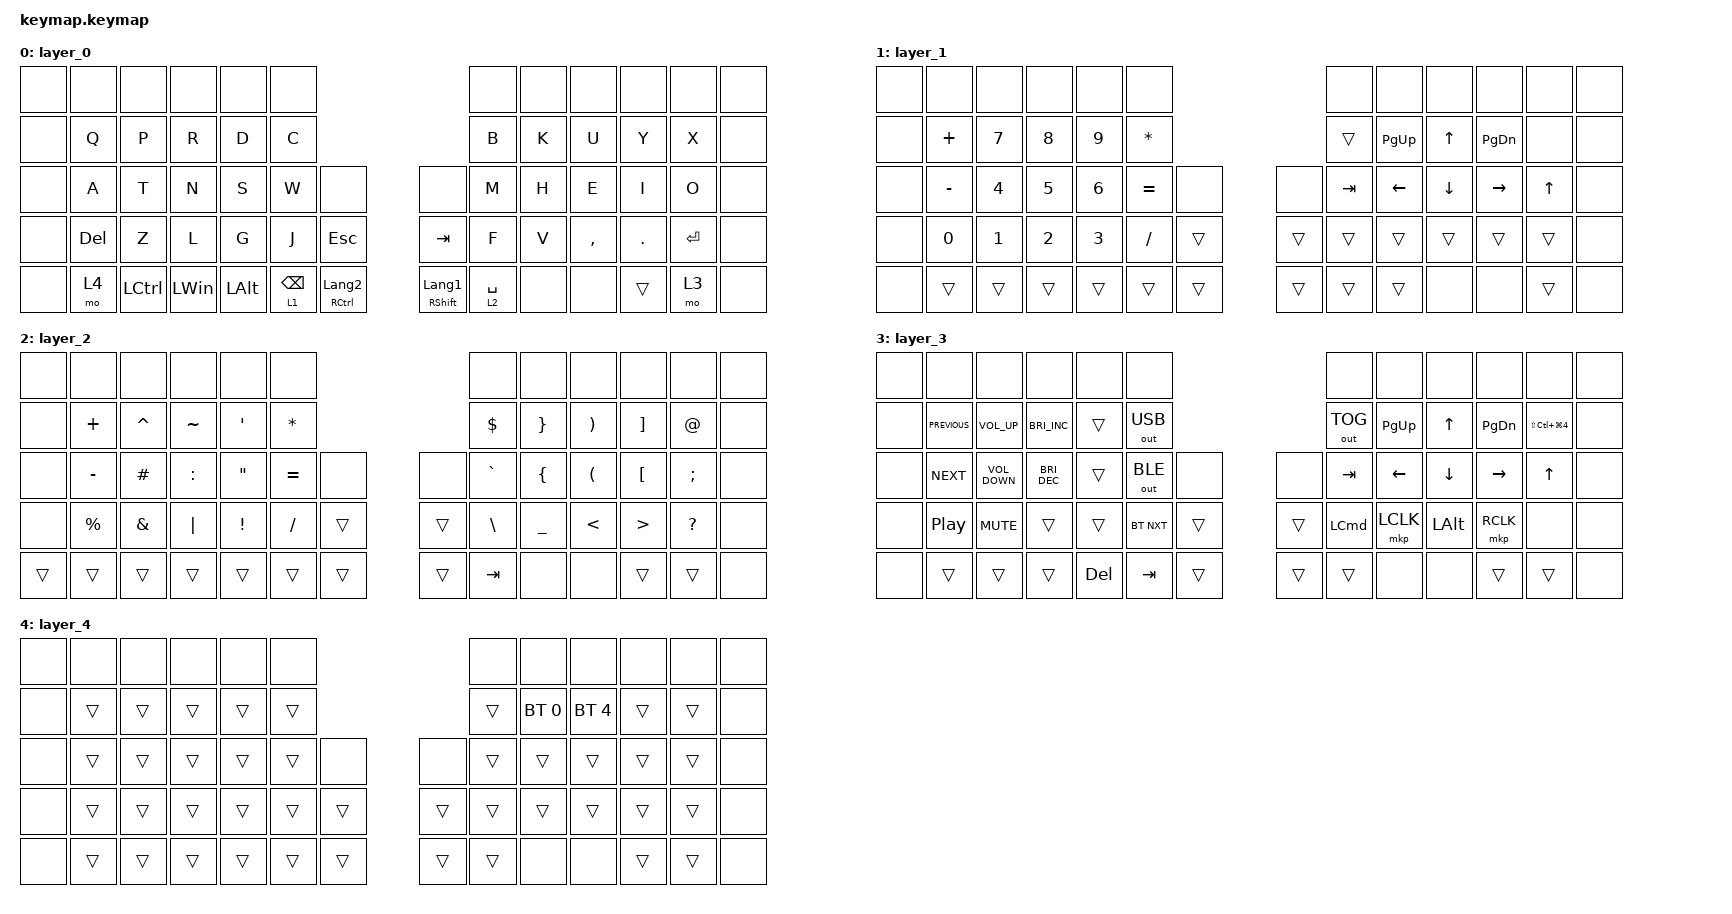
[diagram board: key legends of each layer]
#include <input/processors.dtsi>
#include <behaviors.dtsi>
#include <dt-bindings/zmk/bt.h>
#include <dt-bindings/zmk/keys.h>
#include <dt-bindings/zmk/outputs.h>
#include <dt-bindings/zmk/pointing.h>
#include <dt-bindings/zmk/input_transform.h>
#include <input/processors.dtsi>

&trackball_listener {
    scroller {
        layers = <3>;
        input-processors = <
            &zip_xy_to_scroll_mapper
            &zip_scroll_scaler 3 10
            &zip_scroll_transform INPUT_TRANSFORM_Y_INVERT
        >;
    };
};

/ {
    combos {
        compatible = "zmk,combos";

        bt_clear {
            bindings = <&bt BT_CLR>;
            key-positions = <28 29>;
            layers = <2>;
        };
    };

    keymap {
        compatible = "zmk,keymap";

        layer_0 {
            bindings = <
&none    &none      &none      &none           &none      &none                                                          &none         &none   &none       &none        &none        &none
&none    &kp Q      &kp P      &kp R           &kp D      &kp C                                                          &kp B         &kp K   &kp U       &kp Y        &kp X        &none
&none    &kp A      &kp T      &kp N           &kp S      &kp W        &none                     &none                   &kp M         &kp H   &kp E       &kp I        &kp O        &none
&none    &kp DEL    &kp Z      &kp L           &kp G      &kp J        &kp ESCAPE                &kp TAB                 &kp F         &kp V   &kp COMMA   &kp PERIOD   &kp ENTER    &none
&none    &mo 4      &kp LCTRL  &kp LEFT_WIN   &kp LALT   &lt 1 BSPC   &mt RCTRL LANGUAGE_2      &mt RSHIFT LANGUAGE_1   &lt 2 SPACE   &none   &none       &trans       &mo 3        &none
            >;
        };

        layer_1 {
            bindings = <
&none  &none         &none         &none         &none         &none                                     &none     &none           &none           &none            &none             &none  
&none  &kp PLUS      &kp NUMBER_7  &kp NUMBER_8  &kp NUMBER_9  &kp ASTERISK                              &trans    &kp PAGE_UP     &kp UP_ARROW    &kp PAGE_DOWN    &none             &none
&none  &kp MINUS     &kp NUMBER_4  &kp NUMBER_5  &kp NUMBER_6  &kp EQUAL     &none               &none   &kp TAB   &kp LEFT_ARROW  &kp DOWN_ARROW  &kp RIGHT_ARROW  &kp UP_ARROW      &none
&none  &kp NUMBER_0  &kp NUMBER_1  &kp NUMBER_2  &kp NUMBER_3  &kp SLASH     &trans              &trans  &trans    &trans          &trans          &trans           &trans            &none
&none  &trans        &trans        &trans        &trans        &trans        &trans              &trans  &trans    &trans          &none           &none            &trans            &none
            >;
        };

        layer_2 {
            bindings = <
&none   &none         &none           &none       &none               &none                                     &none           &none             &none                   &none               &none          &none
&none   &kp PLUS      &kp CARET       &kp TILDE   &kp SINGLE_QUOTE    &kp ASTERISK                              &kp DOLLAR      &kp RIGHT_BRACE   &kp RIGHT_PARENTHESIS   &kp RIGHT_BRACKET   &kp AT_SIGN    &none
&none   &kp MINUS     &kp HASH        &kp COLON   &kp DOUBLE_QUOTES   &kp EQUAL       &none           &none     &kp GRAVE       &kp LEFT_BRACE    &kp LEFT_PARENTHESIS    &kp LEFT_BRACKET    &kp SEMICOLON  &none
&none   &kp PERCENT   &kp AMPERSAND   &kp PIPE    &kp EXCLAMATION     &kp SLASH       &trans          &trans    &kp BACKSLASH   &kp UNDERSCORE    &kp LESS_THAN           &kp GREATER_THAN    &kp QUESTION   &none
&trans  &trans         &trans         &trans      &trans              &trans          &trans          &trans    &kp TAB         &none             &none                   &trans              &trans         &none
            >;
        };

        layer_3 {
            bindings = <
&none  &none             &none              &none                 &none         &none                                        &none             &none           &none         &none          &none                     &none
&none  &kp C_PREVIOUS    &kp C_VOLUME_UP    &kp C_BRIGHTNESS_INC  &trans        &out OUT_USB                                 &out OUT_TOG      &kp PAGE_UP     &kp UP_ARROW  &kp PAGE_DOWN  &kp LS(LC(LG(NUMBER_4)))  &none
&none  &kp C_NEXT        &kp C_VOLUME_DOWN  &kp C_BRIGHTNESS_DEC  &trans        &out OUT_BLE   &none                &none    &kp TAB           &kp LEFT_ARROW  &kp DOWN      &kp RIGHT      &kp UP_ARROW              &none
&none  &kp C_PLAY_PAUSE  &kp C_MUTE         &trans                &trans        &bt BT_NXT     &trans               &trans   &kp LEFT_COMMAND  &mkp LCLK       &kp LEFT_ALT  &mkp RCLK      &none                     &none
&none  &trans            &trans             &trans                &kp DELETE    &kp TAB        &trans               &trans   &trans            &none           &none         &trans         &trans                    &none
            >;
        };

        layer_4 {
            bindings = <
&none  &none   &none   &none      &none      &none                   &none   &none          &none         &none       &none   &none
&none  &trans  &trans  &trans     &trans     &trans                  &trans  &bt BT_SEL 0   &bt BT_SEL 4     &trans      &trans  &none
&none  &trans  &trans  &trans     &trans     &trans  &none   &none   &trans  &trans         &trans        &trans      &trans  &none
&none  &trans  &trans  &trans     &trans     &trans  &trans  &trans  &trans  &trans         &trans        &trans      &trans  &none
&none  &trans  &trans  &trans     &trans     &trans  &trans  &trans  &trans  &none          &none         &trans      &trans  &none
            >;
        };
    };
};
